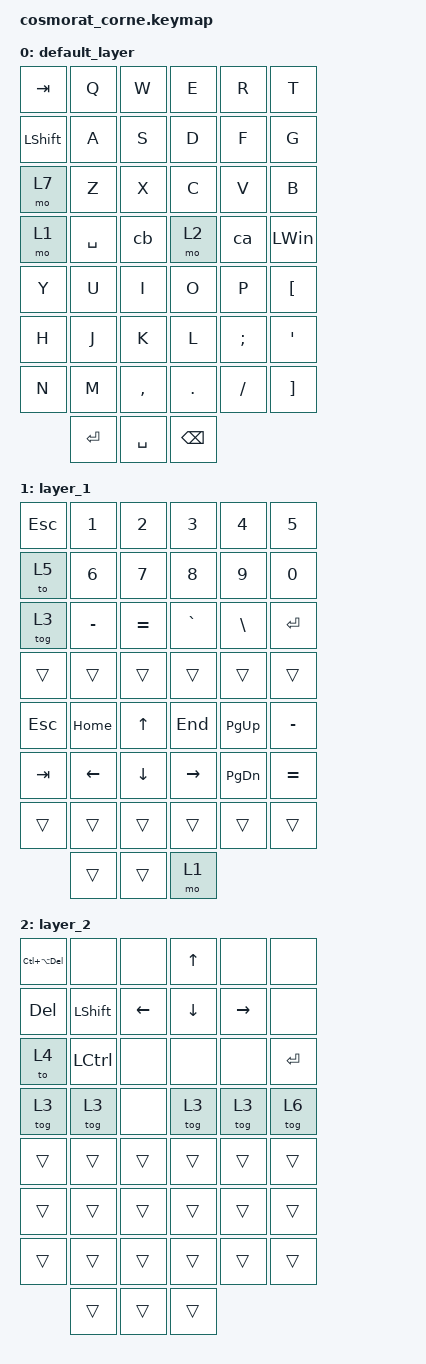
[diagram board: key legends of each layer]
#include <behaviors.dtsi>
#include <dt-bindings/zmk/bt.h>
#include <dt-bindings/zmk/keys.h>
#include <dt-bindings/zmk/outputs.h>
#include <dt-bindings/zmk/pointing.h>

#define ZMK_POINTING_DEFAULT_MOVE_VAL 1500  // default: 600
#define ZMK_POINTING_DEFAULT_SCRL_VAL 10    // default: 10

/ {
    behaviors {
        as: auto_shift {
            compatible = "zmk,behavior-hold-tap";
            label = "Auto Shift";
            bindings = <&kp>, <&kp>;

            #binding-cells = <2>;
            quick-tap-ms = <0>;
            tapping-term-ms = <200>;
            flavor = "hold-preferred";
            require-prior-idle-ms = <125>;
        };

        ca: ctrl_alt {
            compatible = "zmk,behavior-tap-dance";
            #binding-cells = <0>;
            tapping-term-ms = <200>;
            bindings = <&kp LCTRL>, <&kp LALT>;
        };

        cb: ctrl_backspase {
            compatible = "zmk,behavior-mod-morph";
            label = "CTRL_BACKSPASE";
            bindings = <&kp BACKSPACE>, <&mo 3>;

            #binding-cells = <0>;
            mods = <(MOD_LCTL|MOD_LALT)>;
        };
    };

    keymap {
        compatible = "zmk,keymap";

        default_layer {
            bindings = <
// Левая часть - Cosmorat
&kp TAB         &kp Q      &kp W  &kp E  &kp R  &kp T
&kp LEFT_SHIFT  &kp A      &kp S  &kp D  &kp F  &kp G
&mo 7           &kp Z      &kp X  &kp C  &kp V  &kp B
&mo 1           &kp SPACE  &cb    &mo 2  &ca    &kp LEFT_WIN

// Правая часть - Corne
&kp Y      &kp U     &kp I     &kp O      &kp P     &kp LBKT
&kp H      &kp J     &kp K     &kp L      &kp SEMI  &kp SQT
&kp N      &kp M     &kp COMMA &kp DOT    &kp FSLH  &kp RBKT
           &kp ENTER &kp SPACE &kp BSPC
            >;
        };

        layer_1 {
            bindings = <
// Левая часть
&kp ESC  &kp N1     &kp N2     &kp N3     &kp N4    &kp N5
&to 5    &kp N6     &kp N7     &kp N8     &kp N9    &kp N0
&tog 3   &kp MINUS  &kp EQUAL  &kp GRAVE  &kp BSLH  &kp ENTER
&trans   &trans     &trans     &trans     &trans    &trans

// Правая часть
&kp ESC  &kp HOME  &kp UP    &kp END    &kp PG_UP  &kp MINUS
&kp TAB  &kp LEFT  &kp DOWN  &kp RIGHT  &kp PG_DN  &kp EQUAL
&trans   &trans    &trans    &trans     &trans     &trans
         &trans    &trans    &mo 1
            >;
        };

        layer_2 {
            bindings = <
// Левая часть
&kp LC(LA(DELETE))  &none           &none     &kp UP_ARROW    &none      &none
&kp DEL             &kp LEFT_SHIFT  &kp LEFT  &kp DOWN_ARROW  &kp RIGHT  &none
&to 4               &kp LCTRL       &none     &none           &none      &kp ENTER
&tog 3              &tog 3          &none     &tog 3          &tog 3     &tog 6

// Правая часть
&trans  &trans  &trans  &trans  &trans  &trans
&trans  &trans  &trans  &trans  &trans  &trans
&trans  &trans  &trans  &trans  &trans  &trans
        &trans  &trans  &trans
            >;
        };
    };
}; 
